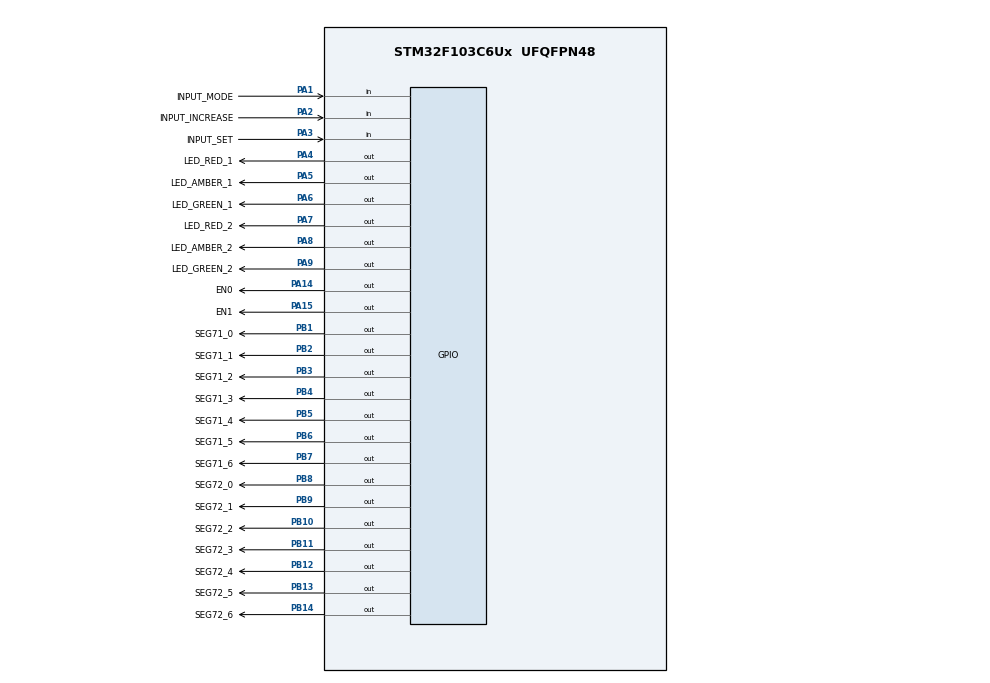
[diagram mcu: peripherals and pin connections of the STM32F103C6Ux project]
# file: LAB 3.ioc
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Mcu.Family=STM32F1
Mcu.Name=STM32F103C6Ux
Mcu.Package=UFQFPN48
NVIC.PriorityGroup=NVIC_PRIORITYGROUP_4
NVIC.TIM2_IRQn=true\:0\:0\:false\:false\:true\:true\:true
PA1.GPIO_Label=INPUT_MODE
PA1.GPIO_PuPd=GPIO_PULLUP
PA1.Signal=GPIO_Input
PA14.GPIO_Label=EN0
PA14.Signal=GPIO_Output
PA15.GPIO_Label=EN1
PA15.Signal=GPIO_Output
PA2.GPIO_Label=INPUT_INCREASE
PA2.GPIO_PuPd=GPIO_PULLUP
PA2.Signal=GPIO_Input
PA3.GPIO_Label=INPUT_SET
PA3.GPIO_PuPd=GPIO_PULLUP
PA3.Signal=GPIO_Input
PA4.GPIO_Label=LED_RED_1
PA4.Signal=GPIO_Output
PA5.GPIO_Label=LED_AMBER_1
PA5.Signal=GPIO_Output
PA6.GPIO_Label=LED_GREEN_1
PA6.Signal=GPIO_Output
PA7.GPIO_Label=LED_RED_2
PA7.Signal=GPIO_Output
PA8.GPIO_Label=LED_AMBER_2
PA8.Signal=GPIO_Output
PA9.GPIO_Label=LED_GREEN_2
PA9.Signal=GPIO_Output
PB1.GPIO_Label=SEG71_0
PB1.Signal=GPIO_Output
PB10.GPIO_Label=SEG72_2
PB10.Signal=GPIO_Output
PB11.GPIO_Label=SEG72_3
PB11.Signal=GPIO_Output
PB12.GPIO_Label=SEG72_4
PB12.Signal=GPIO_Output
PB13.GPIO_Label=SEG72_5
PB13.Signal=GPIO_Output
PB14.GPIO_Label=SEG72_6
PB14.Signal=GPIO_Output
PB2.GPIO_Label=SEG71_1
PB2.Signal=GPIO_Output
PB3.GPIO_Label=SEG71_2
PB3.Signal=GPIO_Output
PB4.GPIO_Label=SEG71_3
PB4.Signal=GPIO_Output
PB5.GPIO_Label=SEG71_4
PB5.Signal=GPIO_Output
PB6.GPIO_Label=SEG71_5
PB6.Signal=GPIO_Output
PB7.GPIO_Label=SEG71_6
PB7.Signal=GPIO_Output
PB8.GPIO_Label=SEG72_0
PB8.Signal=GPIO_Output
PB9.GPIO_Label=SEG72_1
PB9.Signal=GPIO_Output
ProjectManager.HeapSize=0x200
ProjectManager.StackSize=0x400
ProjectManager.TargetToolchain=STM32CubeIDE
RCC.APB1Freq_Value=8000000
RCC.APB2Freq_Value=8000000
TIM2.Period=9
TIM2.Prescaler=7999
VP_SYS_VS_ND.Mode=No_Debug
VP_TIM2_VS_ClockSourceINT.Mode=Internal
board=custom

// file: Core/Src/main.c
/* USER CODE BEGIN Header */
/**
  ******************************************************************************
  * @file           : main.c
  * @brief          : Main program body
  ******************************************************************************
  * @attention
  *
  * <h2><center>&copy; Copyright (c) 2025 STMicroelectronics.
  * All rights reserved.</center></h2>
  *
  * This software component is licensed by ST under BSD 3-Clause license,
  * the "License"; You may not use this file except in compliance with the
  * License. You may obtain a copy of the License at:
  *                        opensource.org/licenses/BSD-3-Clause
  *
  ******************************************************************************
  */
/* USER CODE END Header */
#include "main.h"

/* USER CODE BEGIN Includes */
#include "timer.h"
#include "input_reading.h"
#include "fsm_input_processing.h"
#include "fsm_traffic_mode.h"
/* USER CODE END Includes */

TIM_HandleTypeDef htim2;

void SystemClock_Config(void);
static void MX_GPIO_Init(void);
static void MX_TIM2_Init(void);

int main(void)
{

  /* MCU Configuration--------------------------------------------------------*/

  /* Reset of all peripherals, Initializes the Flash interface and the Systick. */
  HAL_Init();

  /* Configure the system clock */
  SystemClock_Config();

  /* Initialize all configured peripherals */
  MX_GPIO_Init();
  MX_TIM2_Init();
  /* USER CODE BEGIN 2 */
  HAL_TIM_Base_Start_IT(&htim2);

  	init_SoftwareTimer(HAL_RCC_GetHCLKFreq(), // Return HCLK Frequency
  					  htim2.Init.Prescaler,  // Return TIM2 Prescaler
  					  htim2.Init.Period);	 // Return TIM2 Period

  	init_fsm_traffic_mode();
  	set_one_sec_timer();
  /* USER CODE END 2 */

  /* Infinite loop */
  /* USER CODE BEGIN WHILE */
  while (1)
  {

	  fsm_traffic_mode();
	  fsm_input_processing();
    /* USER CODE END WHILE */

  }
}

void SystemClock_Config(void)
{
  RCC_OscInitTypeDef RCC_OscInitStruct = {0};
  RCC_ClkInitTypeDef RCC_ClkInitStruct = {0};

  /** Initializes the RCC Oscillators according to the specified parameters
  * in the RCC_OscInitTypeDef structure.
  */
  RCC_OscInitStruct.OscillatorType = RCC_OSCILLATORTYPE_HSI;
  RCC_OscInitStruct.HSIState = RCC_HSI_ON;
  RCC_OscInitStruct.HSICalibrationValue = RCC_HSICALIBRATION_DEFAULT;
  RCC_OscInitStruct.PLL.PLLState = RCC_PLL_NONE;
  if (HAL_RCC_OscConfig(&RCC_OscInitStruct) != HAL_OK)
  {
    Error_Handler();
  }
  /** Initializes the CPU, AHB and APB buses clocks
  */
  RCC_ClkInitStruct.ClockType = RCC_CLOCKTYPE_HCLK|RCC_CLOCKTYPE_SYSCLK
                              |RCC_CLOCKTYPE_PCLK1|RCC_CLOCKTYPE_PCLK2;
  RCC_ClkInitStruct.SYSCLKSource = RCC_SYSCLKSOURCE_HSI;
  RCC_ClkInitStruct.AHBCLKDivider = RCC_SYSCLK_DIV1;
  RCC_ClkInitStruct.APB1CLKDivider = RCC_HCLK_DIV1;
  RCC_ClkInitStruct.APB2CLKDivider = RCC_HCLK_DIV1;

  if (HAL_RCC_ClockConfig(&RCC_ClkInitStruct, FLASH_LATENCY_0) != HAL_OK)
  {
    Error_Handler();
  }
}

static void MX_TIM2_Init(void)
{

  /* USER CODE BEGIN TIM2_Init 0 */
	HAL_NVIC_SetPriority(TIM2_IRQn, 0, 0);
	HAL_NVIC_EnableIRQ(TIM2_IRQn);
  /* USER CODE END TIM2_Init 0 */

  TIM_ClockConfigTypeDef sClockSourceConfig = {0};
  TIM_MasterConfigTypeDef sMasterConfig = {0};

  htim2.Instance = TIM2;
  htim2.Init.Prescaler = 7999;
  htim2.Init.CounterMode = TIM_COUNTERMODE_UP;
  htim2.Init.Period = 9;
  htim2.Init.ClockDivision = TIM_CLOCKDIVISION_DIV1;
  htim2.Init.AutoReloadPreload = TIM_AUTORELOAD_PRELOAD_DISABLE;
  if (HAL_TIM_Base_Init(&htim2) != HAL_OK)
  {
    Error_Handler();
  }
  sClockSourceConfig.ClockSource = TIM_CLOCKSOURCE_INTERNAL;
  if (HAL_TIM_ConfigClockSource(&htim2, &sClockSourceConfig) != HAL_OK)
  {
    Error_Handler();
  }
  sMasterConfig.MasterOutputTrigger = TIM_TRGO_RESET;
  sMasterConfig.MasterSlaveMode = TIM_MASTERSLAVEMODE_DISABLE;
  if (HAL_TIMEx_MasterConfigSynchronization(&htim2, &sMasterConfig) != HAL_OK)
  {
    Error_Handler();
  }

}

static void MX_GPIO_Init(void)
{
  GPIO_InitTypeDef GPIO_InitStruct = {0};

  /* GPIO Ports Clock Enable */
  __HAL_RCC_GPIOA_CLK_ENABLE();
  __HAL_RCC_GPIOB_CLK_ENABLE();

  /*Configure GPIO pin Output Level */
  HAL_GPIO_WritePin(GPIOA, LED_RED_1_Pin|LED_AMBER_1_Pin|LED_GREEN_1_Pin|LED_RED_2_Pin
                          |LED_AMBER_2_Pin|LED_GREEN_2_Pin|EN0_Pin|EN1_Pin, GPIO_PIN_RESET);

  /*Configure GPIO pin Output Level */
  HAL_GPIO_WritePin(GPIOB, SEG71_0_Pin|SEG71_1_Pin|SEG72_2_Pin|SEG72_3_Pin
                          |SEG72_4_Pin|SEG72_5_Pin|SEG72_6_Pin|SEG71_2_Pin
                          |SEG71_3_Pin|SEG71_4_Pin|SEG71_5_Pin|SEG71_6_Pin
                          |SEG72_0_Pin|SEG72_1_Pin, GPIO_PIN_RESET);

  /*Configure GPIO pins : INPUT_MODE_Pin INPUT_INCREASE_Pin INPUT_SET_Pin */
  GPIO_InitStruct.Pin = INPUT_MODE_Pin|INPUT_INCREASE_Pin|INPUT_SET_Pin;
  GPIO_InitStruct.Mode = GPIO_MODE_INPUT;
  GPIO_InitStruct.Pull = GPIO_PULLUP;
  HAL_GPIO_Init(GPIOA, &GPIO_InitStruct);

  /*Configure GPIO pins : LED_RED_1_Pin LED_AMBER_1_Pin LED_GREEN_1_Pin LED_RED_2_Pin
                           LED_AMBER_2_Pin LED_GREEN_2_Pin EN0_Pin EN1_Pin */
  GPIO_InitStruct.Pin = LED_RED_1_Pin|LED_AMBER_1_Pin|LED_GREEN_1_Pin|LED_RED_2_Pin
                          |LED_AMBER_2_Pin|LED_GREEN_2_Pin|EN0_Pin|EN1_Pin;
  GPIO_InitStruct.Mode = GPIO_MODE_OUTPUT_PP;
  GPIO_InitStruct.Pull = GPIO_NOPULL;
  GPIO_InitStruct.Speed = GPIO_SPEED_FREQ_LOW;
  HAL_GPIO_Init(GPIOA, &GPIO_InitStruct);

  /*Configure GPIO pins : SEG71_0_Pin SEG71_1_Pin SEG72_2_Pin SEG72_3_Pin
                           SEG72_4_Pin SEG72_5_Pin SEG72_6_Pin SEG71_2_Pin
                           SEG71_3_Pin SEG71_4_Pin SEG71_5_Pin SEG71_6_Pin
                           SEG72_0_Pin SEG72_1_Pin */
  GPIO_InitStruct.Pin = SEG71_0_Pin|SEG71_1_Pin|SEG72_2_Pin|SEG72_3_Pin
                          |SEG72_4_Pin|SEG72_5_Pin|SEG72_6_Pin|SEG71_2_Pin
                          |SEG71_3_Pin|SEG71_4_Pin|SEG71_5_Pin|SEG71_6_Pin
                          |SEG72_0_Pin|SEG72_1_Pin;
  GPIO_InitStruct.Mode = GPIO_MODE_OUTPUT_PP;
  GPIO_InitStruct.Pull = GPIO_NOPULL;
  GPIO_InitStruct.Speed = GPIO_SPEED_FREQ_LOW;
  HAL_GPIO_Init(GPIOB, &GPIO_InitStruct);

}

/* USER CODE BEGIN 4 */
void HAL_TIM_PeriodElapsedCallback(TIM_HandleTypeDef *htim){
	if (htim->Instance == TIM2) {
	        timer_Run();
	        button_reading();

	    }
}
/* USER CODE END 4 */

void Error_Handler(void)
{
  __disable_irq();
  while (1)
  {
  }
}

/************************ (C) COPYRIGHT STMicroelectronics *****END OF FILE****/
